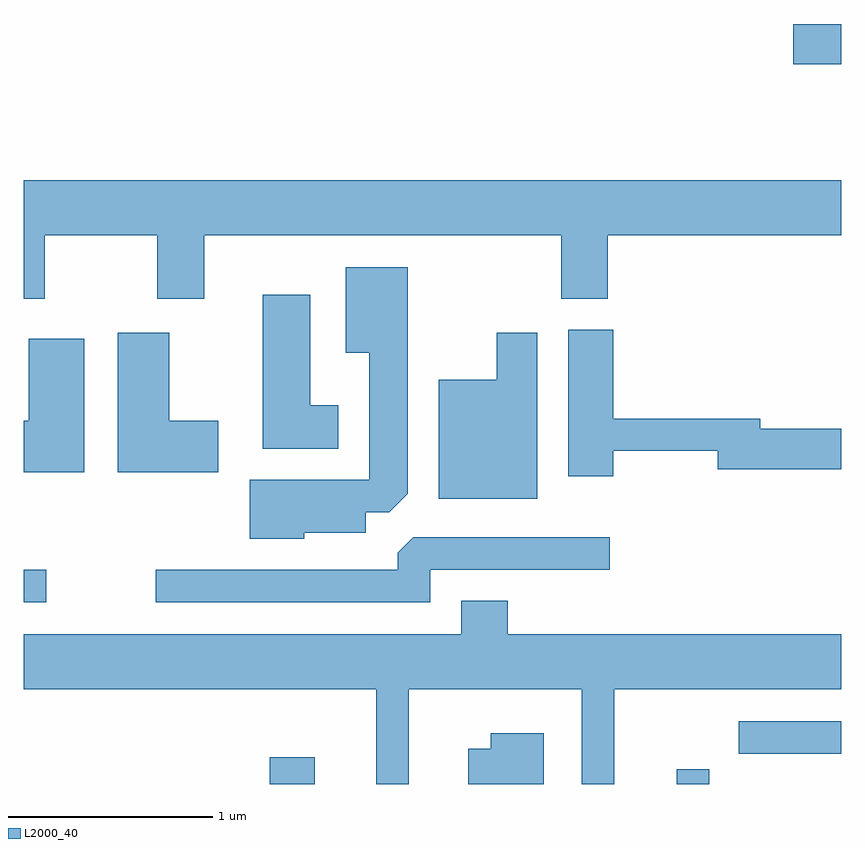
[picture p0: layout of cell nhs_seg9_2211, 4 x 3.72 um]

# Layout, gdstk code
import gdstk
lib = gdstk.Library(unit=1e-6, precision=1e-09)
def R(c, l, rs):  # rectangles x0, y0, x1, y1
    for r in rs: c.add(gdstk.rectangle(r[:2], r[2:], *l))
def P(c, l, *ps):  # polygons
    for p in ps: c.add(gdstk.Polygon(p, *l))
L2000_40 = (2000, 40)

nhs_seg9_2211 = lib.new_cell('nhs_seg9_2211')
R(nhs_seg9_2211, L2000_40, [(250.816,2022.432,251.034,2022.564), (252.806,2022.432,252.964,2022.503), (253.108,2022.581,253.611,2022.739), (249.611,2023.321,249.723,2023.479), (253.376,2025.951,253.611,2026.149)])
P(nhs_seg9_2211, L2000_40, [(249.714,2025.116),(250.266,2025.116),(250.266,2024.806),(250.494,2024.806),(250.494,2025.116),(252.241,2025.116),(252.241,2024.806),(252.469,2024.806),(252.469,2025.116),(253.611,2025.116),(253.611,2025.384),(249.611,2025.384),(249.611,2024.806),(249.714,2024.806)],
  [(250.984,2023.661),(251.284,2023.661),(251.284,2023.761),(251.399,2023.761),(251.489,2023.852),(251.489,2024.959),(251.186,2024.959),(251.186,2024.541),(251.301,2024.541),(251.301,2023.919),(250.716,2023.919),(250.716,2023.631),(250.984,2023.631)],
  [(251.149,2024.284),(251.014,2024.284),(251.014,2024.824),(250.781,2024.824),(250.781,2024.071),(251.149,2024.071)],
  [(252.494,2024.061),(253.006,2024.061),(253.006,2023.971),(253.611,2023.971),(253.611,2024.169),(253.214,2024.169),(253.214,2024.219),(252.494,2024.219),(252.494,2024.654),(252.276,2024.654),(252.276,2023.936),(252.494,2023.936)],
  [(252.124,2024.639),(251.926,2024.639),(251.926,2024.409),(251.641,2024.409),(251.641,2023.826),(252.124,2023.826)],
  [(250.564,2024.209),(250.324,2024.209),(250.324,2024.639),(250.071,2024.639),(250.071,2023.956),(250.564,2023.956)],
  [(249.909,2024.609),(249.636,2024.609),(249.636,2024.209),(249.611,2024.209),(249.611,2023.956),(249.909,2023.956)],
  [(251.599,2023.481),(252.478,2023.481),(252.478,2023.639),(251.517,2023.639),(251.441,2023.564),(251.441,2023.479),(250.258,2023.479),(250.258,2023.321),(251.599,2023.321)],
  [(251.494,2022.896),(252.341,2022.896),(252.341,2022.432),(252.499,2022.432),(252.499,2022.896),(253.611,2022.896),(253.611,2023.164),(251.979,2023.164),(251.979,2023.329),(251.751,2023.329),(251.751,2023.164),(249.611,2023.164),(249.611,2022.896),(251.336,2022.896),(251.336,2022.432),(251.494,2022.432)],
  [(252.154,2022.679),(251.896,2022.679),(251.896,2022.604),(251.786,2022.604),(251.786,2022.432),(252.154,2022.432)])

lib.write_gds('nhs_seg9_2211.gds')
